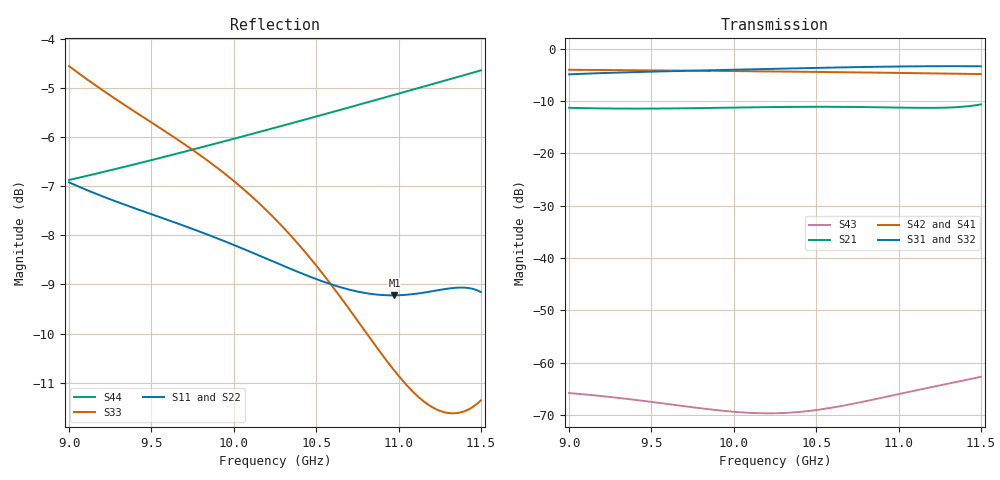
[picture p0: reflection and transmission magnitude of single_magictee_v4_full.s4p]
! Generated from PyAEDT SolutionData; AEDT ExportNetworkData workaround
# GHz S MA R 50
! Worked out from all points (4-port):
!   101 points, 9 GHz to 11.5 GHz, reference 50 ohm
!   strongest paths, dB at 9 GHz, 9.625 GHz, 10.25 GHz, 10.88 GHz, 11.5 GHz:
!     S31: -4.9, -4.3, -3.8, -3.4, -3.3
!     S32: -4.9, -4.3, -3.8, -3.4, -3.3
!     S42: -4.0, -4.1, -4.3, -4.6, -4.8
!     S41: -4.0, -4.2, -4.3, -4.6, -4.8
!     S21: -11.3, -11.4, -11.1, -11.2, -10.6
!     S43: -65.8, -68.0, -69.7, -66.9, -62.7
!   lowest |S11| = -9.2 dB at 10.97 GHz (marker M1), VSWR 2.06, Z = 24.6 + j4.43 ohm
!   |S11| at or under -10 dB: nowhere
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9  0.4508 17.1  0.273 -55.8  0.5703 -9.3  0.6301 43.8
   0.273 -55.8  0.4512 17.2  0.5695 -9.2  0.6305 -136.2
   0.5703 -9.3  0.5695 -9.2  0.5919 170.5  0.0005114 69.6
   0.6301 43.8  0.6305 -136.2  0.0005114 69.6  0.4533 -144.6
9.375  0.4256 -27.4  0.2684 -109.0  0.5977 -76.7  0.6241 1.5
       0.2684 -109.0  0.426 -27.3  0.5968 -76.6  0.6247 -178.4
       0.5977 -76.7  0.5968 -76.6  0.5352 83.8  0.0004451 2.6
       0.6241 1.5  0.6247 -178.4  0.0004451 2.6  0.4693 176.1
9.7  0.407 -64.5  0.2702 -153.4  0.6157 -132.9  0.6183 -33.9
     0.2702 -153.4  0.4074 -64.4  0.6148 -132.9  0.6189 146.1
     0.6157 -132.9  0.6148 -132.9  0.4929 11.9  0.000383 -50.0
     0.6183 -33.9  0.6189 146.1  0.000383 -50.0  0.4844 142.8
10  0.3892 -97.6  0.2743 166.5  0.6312 176.3  0.6123 -66.0
    0.2743 166.5  0.3896 -97.4  0.6302 176.4  0.613 114.1
    0.6312 176.3  0.6302 176.4  0.4522 -52.7  0.0003388 -92.5
    0.6123 -66.0  0.613 114.1  0.0003388 -92.5  0.4993 112.5
10.5  0.3593 -149.0  0.2791 100.8  0.6572 92.9  0.6009 -118.2
      0.2791 100.8  0.3597 -148.9  0.6562 93.0  0.6018 61.9
      0.6572 92.9  0.6562 93.0  0.3709 -160.3  0.0003521 -153.8
      0.6009 -118.2  0.6018 61.9  0.0003521 -153.8  0.5261 62.8
10.975  0.3459 166.7  0.2747 40.9  0.6772 13.0  0.5884 -166.7
        0.2747 40.9  0.3462 166.7  0.6763 13.0  0.5894 13.3
        0.6772 13.0  0.6763 13.0  0.2898 89.5  0.0004898 138.9
        0.5884 -166.7  0.5894 13.3  0.0004898 138.9  0.5535 16.1
11.5  0.3485 113.7  0.2945 -17.6  0.6813 -81.2  0.5724 140.3
      0.2945 -17.6  0.3488 113.5  0.6803 -81.2  0.5734 -39.7
      0.6813 -81.2  0.6803 -81.2  0.2704 -40.9  0.0007321 48.2
      0.5724 140.3  0.5734 -39.7  0.0007321 48.2  0.5861 -35.2
